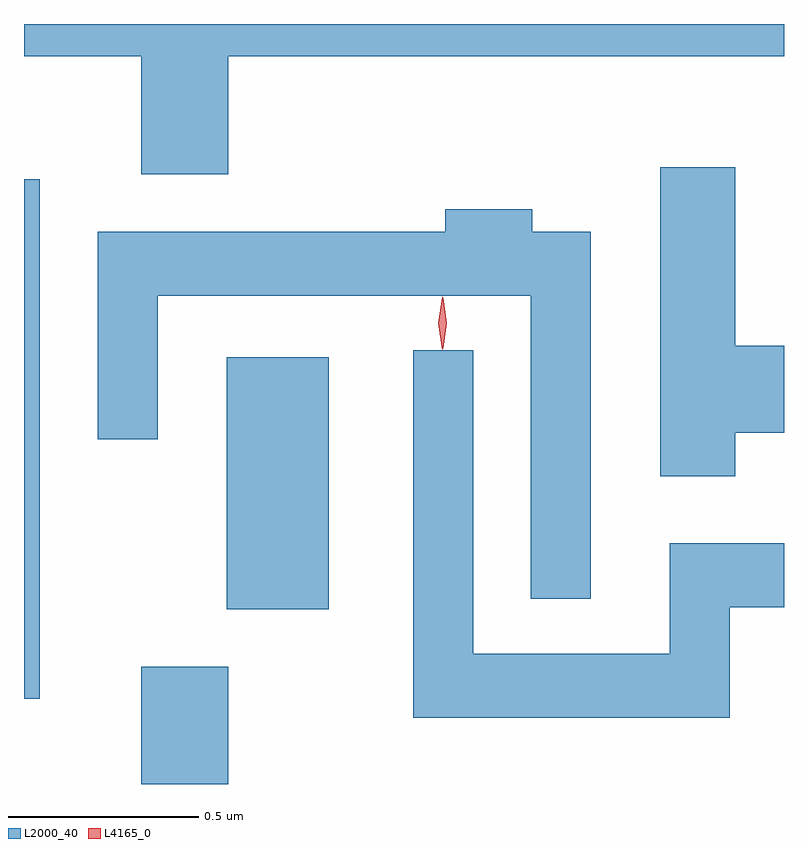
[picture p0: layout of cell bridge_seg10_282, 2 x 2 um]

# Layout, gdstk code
import gdstk
lib = gdstk.Library(unit=1e-6, precision=1e-09)
def R(c, l, rs):  # rectangles x0, y0, x1, y1
    for r in rs: c.add(gdstk.rectangle(r[:2], r[2:], *l))
def P(c, l, *ps):  # polygons
    for p in ps: c.add(gdstk.Polygon(p, *l))
L2000_40 = (2000, 40)
L4165_0 = (4165, 0)

bridge_seg10_282 = lib.new_cell('bridge_seg10_282')
R(bridge_seg10_282, L2000_40, [(1819.361,2100.901,1819.589,2101.209), (1819.052,2101.126,1819.094,2102.493), (1819.586,2101.361,1819.854,2102.024)])
P(bridge_seg10_282, L2000_40, [(1819.589,2102.816),(1821.052,2102.816),(1821.052,2102.901),(1819.052,2102.901),(1819.052,2102.816),(1819.361,2102.816),(1819.361,2102.506),(1819.589,2102.506)],
  [(1820.924,2101.826),(1821.052,2101.826),(1821.052,2102.054),(1820.924,2102.054),(1820.924,2102.524),(1820.726,2102.524),(1820.726,2101.711),(1820.924,2101.711)],
  [(1820.544,2102.354),(1820.389,2102.354),(1820.389,2102.414),(1820.161,2102.414),(1820.161,2102.354),(1819.246,2102.354),(1819.246,2101.808),(1819.404,2101.808),(1819.404,2102.186),(1820.386,2102.186),(1820.386,2101.388),(1820.544,2101.388)],
  [(1820.909,2101.366),(1821.052,2101.366),(1821.052,2101.534),(1820.751,2101.534),(1820.751,2101.244),(1820.234,2101.244),(1820.234,2102.043),(1820.076,2102.043),(1820.076,2101.076),(1820.909,2101.076)])
P(bridge_seg10_282, L4165_0, [(1820.155,2102.047),(1820.154,2102.048),(1820.145,2102.114),(1820.154,2102.18),(1820.155,2102.181),(1820.155,2102.18),(1820.165,2102.114),(1820.155,2102.048)],
  [(1820.152,2102.044),(1820.152,2102.044),(1820.142,2102.113),(1820.152,2102.182),(1820.152,2102.183),(1820.153,2102.182),(1820.162,2102.113),(1820.153,2102.044)])

lib.write_gds('bridge_seg10_282.gds')
